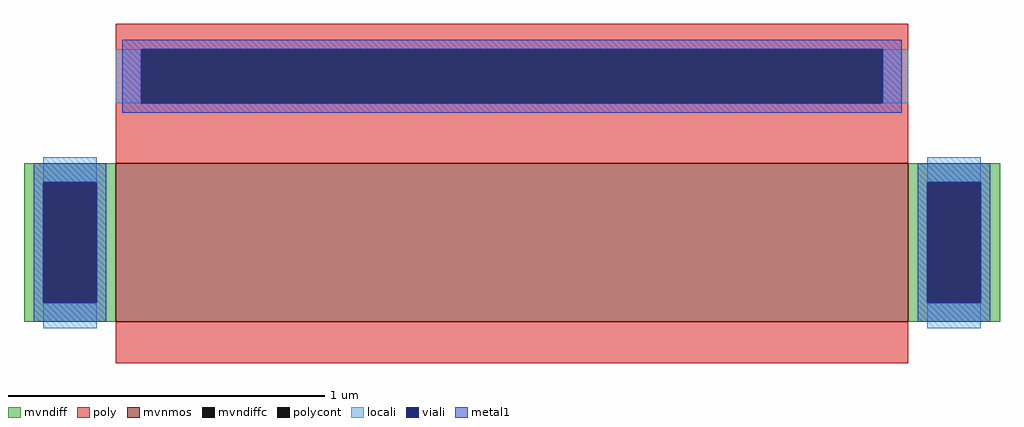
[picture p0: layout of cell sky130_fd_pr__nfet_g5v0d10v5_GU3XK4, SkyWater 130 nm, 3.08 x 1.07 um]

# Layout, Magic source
magic
tech sky130A
magscale 1 2
<< mvnmos >>
rect -250 -81 250 19
<< mvndiff >>
rect -308 7 -250 19
rect -308 -69 -296 7
rect -262 -69 -250 7
rect -308 -81 -250 -69
rect 250 7 308 19
rect 250 -69 262 7
rect 296 -69 308 7
rect 250 -81 308 -69
<< mvndiffc >>
rect -296 -69 -262 7
rect 262 -69 296 7
<< poly >>
rect -250 91 250 107
rect -250 57 -234 91
rect 234 57 250 91
rect -250 19 250 57
rect -250 -107 250 -81
<< polycont >>
rect -234 57 234 91
<< locali >>
rect -250 57 -234 91
rect 234 57 250 91
rect -296 7 -262 23
rect -296 -85 -262 -69
rect 262 7 296 23
rect 262 -85 296 -69
<< viali >>
rect -234 57 234 91
rect -296 -69 -262 7
rect 262 -69 296 7
<< metal1 >>
rect -246 91 246 97
rect -246 57 -234 91
rect 234 57 246 91
rect -246 51 246 57
rect -302 7 -256 19
rect -302 -69 -296 7
rect -262 -69 -256 7
rect -302 -81 -256 -69
rect 256 7 302 19
rect 256 -69 262 7
rect 296 -69 302 7
rect 256 -81 302 -69
<< properties >>
string gencell sky130_fd_pr__nfet_g5v0d10v5
string library sky130
string parameters w 0.5 l 2.5 m 1 nf 1 diffcov 100 polycov 100 guard 0 glc 1 grc 1 gtc 1 gbc 1 tbcov 100 rlcov 100 topc 1 botc 0 poverlap 0 doverlap 1 lmin 0.50 wmin 0.42 compatible {sky130_fd_pr__nfet_01v8 sky130_fd_pr__nfet_01v8_lvt  sky130_fd_bs_flash__special_sonosfet_star  sky130_fd_pr__nfet_g5v0d10v5 sky130_fd_pr__nfet_05v0_nvt  sky130_fd_pr__nfet_03v3_nvt} full_metal 1 viasrc 100 viadrn 100 viagate 100 viagb 0 viagr 0 viagl 0 viagt 0
<< end >>
